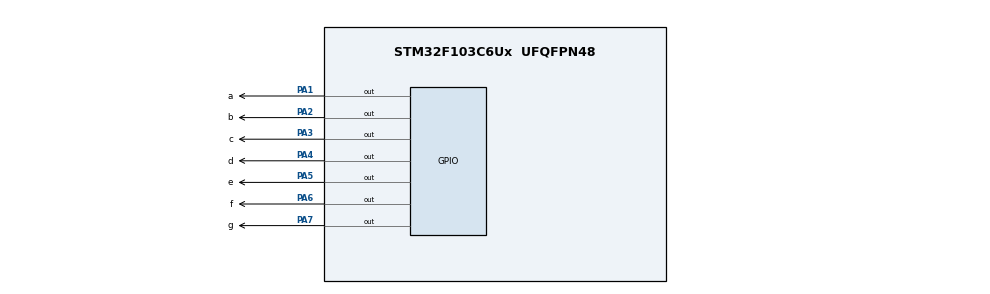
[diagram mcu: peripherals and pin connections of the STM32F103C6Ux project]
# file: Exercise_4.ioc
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Mcu.Family=STM32F1
Mcu.Name=STM32F103C6Ux
Mcu.Package=UFQFPN48
NVIC.PriorityGroup=NVIC_PRIORITYGROUP_4
PA1.GPIO_Label=a
PA1.Signal=GPIO_Output
PA2.GPIO_Label=b
PA2.Signal=GPIO_Output
PA3.GPIO_Label=c
PA3.Signal=GPIO_Output
PA4.GPIO_Label=d
PA4.Signal=GPIO_Output
PA5.GPIO_Label=e
PA5.Signal=GPIO_Output
PA6.GPIO_Label=f
PA6.Signal=GPIO_Output
PA7.GPIO_Label=g
PA7.Signal=GPIO_Output
ProjectManager.HeapSize=0x200
ProjectManager.StackSize=0x400
ProjectManager.TargetToolchain=STM32CubeIDE
RCC.APB1Freq_Value=8000000
RCC.APB2Freq_Value=8000000
VP_SYS_VS_ND.Mode=No_Debug
board=custom

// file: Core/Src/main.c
/* USER CODE BEGIN Header */
/**
  ******************************************************************************
  * @file           : main.c
  * @brief          : Main program body
  ******************************************************************************
  * @attention
  *
  * <h2><center>&copy; Copyright (c) 2026 STMicroelectronics.
  * All rights reserved.</center></h2>
  *
  * This software component is licensed by ST under BSD 3-Clause license,
  * the "License"; You may not use this file except in compliance with the
  * License. You may obtain a copy of the License at:
  *                        opensource.org/licenses/BSD-3-Clause
  *
  ******************************************************************************
  */
/* USER CODE END Header */
#include "main.h"

void SystemClock_Config(void);
static void MX_GPIO_Init(void);
/* USER CODE BEGIN PFP */
void display7SEG(uint8_t num);
/* USER CODE END PFP */

int main(void)
{

  /* MCU Configuration--------------------------------------------------------*/

  /* Reset of all peripherals, Initializes the Flash interface and the Systick. */
  HAL_Init();

  /* Configure the system clock */
  SystemClock_Config();

  /* Initialize all configured peripherals */
  MX_GPIO_Init();
  /* USER CODE BEGIN 2 */
  int counter = 0;
  /* USER CODE END 2 */

  /* Infinite loop */
  while (1)
  {
	  if( counter >= 10) counter = 0;
	  display7SEG ( counter ++);
	  HAL_Delay (1000);
  }
}

void SystemClock_Config(void)
{
  RCC_OscInitTypeDef RCC_OscInitStruct = {0};
  RCC_ClkInitTypeDef RCC_ClkInitStruct = {0};

  /** Initializes the RCC Oscillators according to the specified parameters
  * in the RCC_OscInitTypeDef structure.
  */
  RCC_OscInitStruct.OscillatorType = RCC_OSCILLATORTYPE_HSI;
  RCC_OscInitStruct.HSIState = RCC_HSI_ON;
  RCC_OscInitStruct.HSICalibrationValue = RCC_HSICALIBRATION_DEFAULT;
  RCC_OscInitStruct.PLL.PLLState = RCC_PLL_NONE;
  if (HAL_RCC_OscConfig(&RCC_OscInitStruct) != HAL_OK)
  {
    Error_Handler();
  }
  /** Initializes the CPU, AHB and APB buses clocks
  */
  RCC_ClkInitStruct.ClockType = RCC_CLOCKTYPE_HCLK|RCC_CLOCKTYPE_SYSCLK
                              |RCC_CLOCKTYPE_PCLK1|RCC_CLOCKTYPE_PCLK2;
  RCC_ClkInitStruct.SYSCLKSource = RCC_SYSCLKSOURCE_HSI;
  RCC_ClkInitStruct.AHBCLKDivider = RCC_SYSCLK_DIV1;
  RCC_ClkInitStruct.APB1CLKDivider = RCC_HCLK_DIV1;
  RCC_ClkInitStruct.APB2CLKDivider = RCC_HCLK_DIV1;

  if (HAL_RCC_ClockConfig(&RCC_ClkInitStruct, FLASH_LATENCY_0) != HAL_OK)
  {
    Error_Handler();
  }
}

static void MX_GPIO_Init(void)
{
  GPIO_InitTypeDef GPIO_InitStruct = {0};

  /* GPIO Ports Clock Enable */
  __HAL_RCC_GPIOA_CLK_ENABLE();

  /*Configure GPIO pin Output Level */
  HAL_GPIO_WritePin(GPIOA, a_Pin|b_Pin|c_Pin|d_Pin
                          |e_Pin|f_Pin|g_Pin, GPIO_PIN_RESET);

  /*Configure GPIO pins : a_Pin b_Pin c_Pin d_Pin
                           e_Pin f_Pin g_Pin */
  GPIO_InitStruct.Pin = a_Pin|b_Pin|c_Pin|d_Pin
                          |e_Pin|f_Pin|g_Pin;
  GPIO_InitStruct.Mode = GPIO_MODE_OUTPUT_PP;
  GPIO_InitStruct.Pull = GPIO_NOPULL;
  GPIO_InitStruct.Speed = GPIO_SPEED_FREQ_LOW;
  HAL_GPIO_Init(GPIOA, &GPIO_InitStruct);

}

/* USER CODE BEGIN 4 */
void display7SEG(uint8_t num) {
    uint8_t seg[10][7]=
    {
        {0,0,0,0,0,0,1}, //0
        {1,0,0,1,1,1,1}, //1
        {0,0,1,0,0,1,0}, //2
        {0,0,0,0,1,1,0}, //3
        {1,0,0,1,1,0,0}, //4
        {0,1,0,0,1,0,0}, //5
        {0,1,0,0,0,0,0}, //6
        {0,0,0,1,1,1,1}, //7
        {0,0,0,0,0,0,0}, //8
        {0,0,0,0,1,0,0}  //9
    };

    HAL_GPIO_WritePin(a_GPIO_Port,a_Pin,seg[num][0]);
    HAL_GPIO_WritePin(b_GPIO_Port,b_Pin,seg[num][1]);
    HAL_GPIO_WritePin(c_GPIO_Port,c_Pin,seg[num][2]);
    HAL_GPIO_WritePin(d_GPIO_Port,d_Pin,seg[num][3]);
    HAL_GPIO_WritePin(e_GPIO_Port,e_Pin,seg[num][4]);
    HAL_GPIO_WritePin(f_GPIO_Port,f_Pin,seg[num][5]);
    HAL_GPIO_WritePin(g_GPIO_Port,g_Pin,seg[num][6]);
}
/* USER CODE END 4 */

void Error_Handler(void)
{
  __disable_irq();
  while (1)
  {
  }
}

/************************ (C) COPYRIGHT STMicroelectronics *****END OF FILE****/
